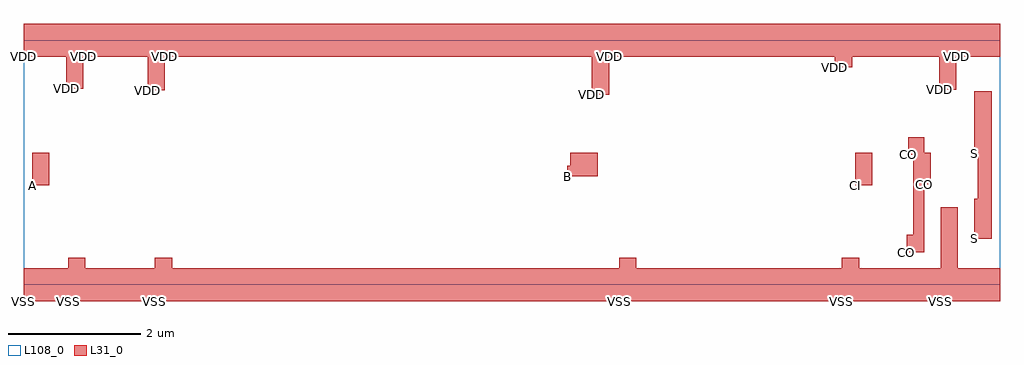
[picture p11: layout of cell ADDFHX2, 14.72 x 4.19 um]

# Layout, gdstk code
import gdstk
lib = gdstk.Library(unit=1e-6, precision=1e-09)
def R(c, l, rs):  # rectangles x0, y0, x1, y1
    for r in rs: c.add(gdstk.rectangle(r[:2], r[2:], *l))
L31_0 = (31, 0)
L108_0 = (108, 0)

addfhx2 = lib.new_cell('ADDFHX2')
R(addfhx2, L31_0, [(0,-0.25,0.665,0.25), (0.665,-0.25,0.925,0.405), (0.925,-0.25,1.975,0.25), (1.975,-0.25,2.235,0.405), (2.235,-0.25,8.975,0.25), (8.975,-0.25,9.235,0.405), (9.235,-0.25,12.335,0.25), (12.335,-0.25,12.595,0.405), (12.595,-0.25,13.825,0.25), (13.825,-0.25,14.085,1.17), (14.085,-0.25,14.72,0.25), (13.315,0.495,13.415,0.755), (13.415,0.495,13.575,2.225), (14.335,0.695,14.385,1.295), (14.385,0.695,14.595,2.92), (0.125,1.5,0.38,1.99), (12.54,1.5,12.795,1.99), (13.575,1.515,13.675,1.99), (8.195,1.635,8.235,1.795), (8.235,1.635,8.65,1.99), (13.335,1.965,13.415,2.225), (14.335,1.98,14.385,2.92), (8.565,2.87,8.825,3.94), (1.865,2.935,2.125,3.94), (13.8,2.945,14.06,3.94), (0.635,2.955,0.895,3.94), (12.23,3.285,12.49,3.94), (0,3.44,0.635,3.94), (0.895,3.44,1.865,3.94), (2.125,3.44,8.565,3.94), (8.825,3.44,12.23,3.94), (12.49,3.44,13.8,3.94), (14.06,3.44,14.72,3.94)])
R(addfhx2, L108_0, [(0,0,14.72,3.69)])
addfhx2.add(gdstk.Label('S', (14.335,1.98), layer=131, texttype=0))
addfhx2.add(gdstk.Label('S', (14.335,0.695), layer=131, texttype=0))
addfhx2.add(gdstk.Label('S', (14.385,0.695), layer=131, texttype=0))
addfhx2.add(gdstk.Label('CO', (13.335,1.965), layer=131, texttype=0))
addfhx2.add(gdstk.Label('CO', (13.315,0.495), layer=131, texttype=0))
addfhx2.add(gdstk.Label('CO', (13.415,0.495), layer=131, texttype=0))
addfhx2.add(gdstk.Label('CO', (13.575,1.515), layer=131, texttype=0))
addfhx2.add(gdstk.Label('CI', (12.54,1.5), layer=131, texttype=0))
addfhx2.add(gdstk.Label('B', (8.195,1.635), layer=131, texttype=0))
addfhx2.add(gdstk.Label('B', (8.235,1.635), layer=131, texttype=0))
addfhx2.add(gdstk.Label('A', (0.125,1.5), layer=131, texttype=0))
addfhx2.add(gdstk.Label('VSS', (0,-0.25), layer=131, texttype=0))
addfhx2.add(gdstk.Label('VSS', (0.665,-0.25), layer=131, texttype=0))
addfhx2.add(gdstk.Label('VSS', (0.925,-0.25), layer=131, texttype=0))
addfhx2.add(gdstk.Label('VSS', (1.975,-0.25), layer=131, texttype=0))
addfhx2.add(gdstk.Label('VSS', (2.235,-0.25), layer=131, texttype=0))
addfhx2.add(gdstk.Label('VSS', (8.975,-0.25), layer=131, texttype=0))
addfhx2.add(gdstk.Label('VSS', (9.235,-0.25), layer=131, texttype=0))
addfhx2.add(gdstk.Label('VSS', (12.335,-0.25), layer=131, texttype=0))
addfhx2.add(gdstk.Label('VSS', (12.595,-0.25), layer=131, texttype=0))
addfhx2.add(gdstk.Label('VSS', (13.825,-0.25), layer=131, texttype=0))
addfhx2.add(gdstk.Label('VSS', (14.085,-0.25), layer=131, texttype=0))
addfhx2.add(gdstk.Label('VDD', (0,3.44), layer=131, texttype=0))
addfhx2.add(gdstk.Label('VDD', (0.635,2.955), layer=131, texttype=0))
addfhx2.add(gdstk.Label('VDD', (0.895,3.44), layer=131, texttype=0))
addfhx2.add(gdstk.Label('VDD', (1.865,2.935), layer=131, texttype=0))
addfhx2.add(gdstk.Label('VDD', (2.125,3.44), layer=131, texttype=0))
addfhx2.add(gdstk.Label('VDD', (8.565,2.87), layer=131, texttype=0))
addfhx2.add(gdstk.Label('VDD', (8.825,3.44), layer=131, texttype=0))
addfhx2.add(gdstk.Label('VDD', (12.23,3.285), layer=131, texttype=0))
addfhx2.add(gdstk.Label('VDD', (12.49,3.44), layer=131, texttype=0))
addfhx2.add(gdstk.Label('VDD', (13.8,2.945), layer=131, texttype=0))
addfhx2.add(gdstk.Label('VDD', (14.06,3.44), layer=131, texttype=0))

lib.write_gds('ADDFHX2.gds')
